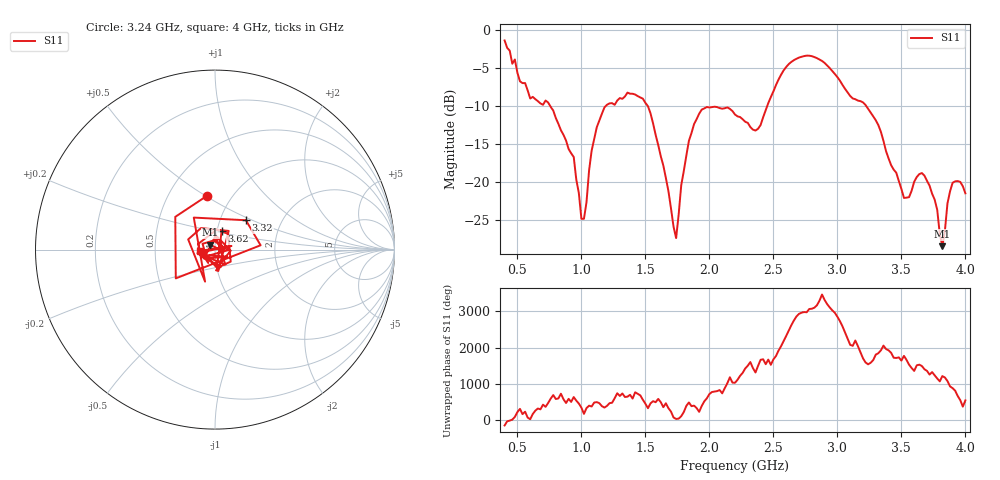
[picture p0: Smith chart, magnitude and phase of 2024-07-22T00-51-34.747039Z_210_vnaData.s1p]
!Created with skrf (http://scikit-rf.org).
# Hz S RI R 50.0
!freq ReS11 ImS11
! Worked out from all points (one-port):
!   181 points, 400 MHz to 4 GHz, reference 50 ohm
!   lowest |S11| = -28.4 dB at 3.82 GHz (marker M1), VSWR 1.08, Z = 47.4 + j2.58 ohm
!   |S11| at or under -10 dB: 757 MHz to 1.189 GHz (432.1 MHz wide, 44.4 % of centre); 1.52 GHz to 2.451 GHz (931.1 MHz wide, 46.9 % of centre); 3.226 GHz to end of sweep
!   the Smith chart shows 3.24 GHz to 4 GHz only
!   S11 on the Smith chart (normalised r, x): 3.24 GHz: 0.77, +0.51; 3.32 GHz: 1.32, +0.46; 3.62 GHz: 1.05, +0.22; 4 GHz: 0.85, -0.01
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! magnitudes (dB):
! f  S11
! 400 MHz  -1.3
! 600 MHz  -9.0
! 740 MHz  -9.5
! 860 MHz  -13.8
! 940 MHz  -16.7
! 1 GHz  -24.8
! 1.02 GHz  -24.8
! 1.08 GHz  -15.9
! 1.12 GHz  -12.8
! 1.3 GHz  -8.9
! 1.52 GHz  -10.0
! 1.74 GHz  -27.4
! 1.76 GHz  -24.2
! 1.84 GHz  -14.6
! 1.92 GHz  -11.0
! 2.2 GHz  -11.1
! 2.38 GHz  -13.0
! 2.66 GHz  -3.9
! 2.88 GHz  -4.0
! 3.1 GHz  -8.7
! 3.24 GHz  -10.3
! 3.32 GHz  -12.5
! 3.56 GHz  -22.0
! 3.62 GHz  -19.3
! 3.72 GHz  -20.5
! 3.82 GHz  -28.4
! 3.9 GHz  -20.1
! 4 GHz  -21.5
